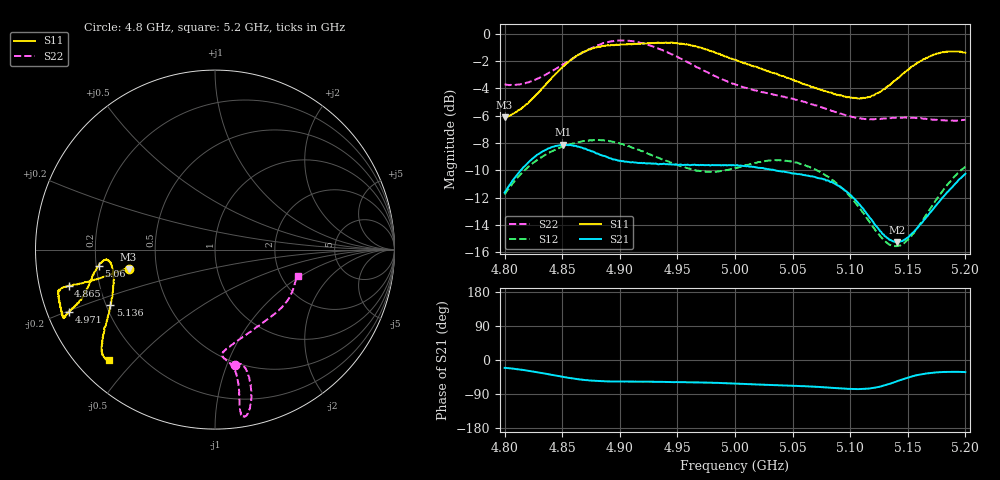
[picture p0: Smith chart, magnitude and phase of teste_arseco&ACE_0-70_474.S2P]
! Network Analyzer HP8722D
! Hewlett-Packard
! Data name: Linha & Wilkinson
! Saver's name: Rodrigo Anjos
! Comments: Teste da utilização de aquisição
! continua pelo VNA HP8722D
! Time and date: 8/5/2025 16:42
!  Frequency  S11  S21  S12  S22
# HZ  S  MA R 50
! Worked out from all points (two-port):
!   401 points, 4.8 GHz to 5.2 GHz, reference 50 ohm
!   highest |S21| = -8.12 dB at 4.851 GHz (marker M1); lowest = -15.2 dB at 5.141 GHz (marker M2)
!   |S21| within 3 dB of the highest: 4.804 GHz to 5.09 GHz (285.8 MHz wide, 5.78 % of centre); 5.189704 GHz to end of sweep
!   lowest |S11| = -6.1 dB at 4.8 GHz (marker M3), VSWR 2.95, Z = 17.1 - j4.86 ohm
!   |S11| at or under -10 dB: nowhere
!   |S22| runs from -6.4 to -0.5 dB; largest |S21 - S12| = 0.62
!   S11 on the Smith chart (normalised r, x): 4.8 GHz: 0.34, -0.10; 4.865 GHz: 0.09, -0.12; 4.971 GHz: 0.06, -0.20; 5.06 GHz: 0.21, -0.07; 5.136 GHz: 0.22, -0.24; 5.2 GHz: 0.09, -0.42
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4.8e9  0.4937 -167.4  0.2623 -20.6  0.2582 -141.8  0.6523 -80.2
4.826e9  0.5889 -166.8  0.3545 -31.2  0.339 -146.0  0.6772 -75.9
4.851e9  0.7596 -165.8  0.3924 -44.8  0.3867 -150.4  0.7734 -75.2
4.865e9  0.8403 -166.2  0.3849 -51.2  0.4015 -152.7  0.84 -75.9
4.867e9  0.8515 -166.0  0.3833 -51.9  0.4037 -153.0  0.8495 -76.2
4.898e9  0.9102 -163.3  0.344 -56.8  0.3978 -157.0  0.9433 -79.6
4.913e9  0.9187 -160.0  0.338 -57.1  0.3815 -157.4  0.9358 -80.8
4.934e9  0.9268 -156.7  0.3328 -57.8  0.3514 -155.9  0.8791 -81.0
4.949e9  0.9243 -155.6  0.3322 -58.1  0.3322 -153.3  0.8262 -80.6
4.971e9  0.8865 -156.8  0.3306 -59.4  0.314 -146.7  0.7404 -80.1
5e9  0.8037 -159.4  0.3297 -62.2  0.3223 -137.6  0.6525 -81.7
5.036e9  0.7147 -166.1  0.3153 -66.5  0.3441 -135.1  0.596 -85.9
5.06e9  0.6535 -172.1  0.3038 -69.1  0.3312 -137.1  0.5632 -84.4
5.067e9  0.6387 -173.3  0.3006 -70.0  0.3226 -137.8  0.5511 -82.7
5.099e9  0.5858 -172.3  0.2596 -76.2  0.256 -139.5  0.499 -67.2
5.115e9  0.5849 -164.8  0.2175 -75.6  0.21 -135.6  0.4868 -55.7
5.134e9  0.6462 -153.3  0.1763 -63.1  0.1691 -118.7  0.491 -42.9
5.136e9  0.6587 -152.1  0.1749 -61.1  0.1676 -116.1  0.4911 -41.6
5.141e9  0.6854 -149.3  0.1729 -55.4  0.1672 -109.5  0.493 -38.8
5.153e9  0.7565 -144.7  0.1848 -43.9  0.1815 -94.7  0.4922 -32.6
5.173e9  0.8398 -138.8  0.2313 -33.3  0.2406 -80.8  0.4852 -24.1
5.2e9  0.8516 -133.8  0.3072 -32.1  0.326 -77.8  0.4842 -17.7
